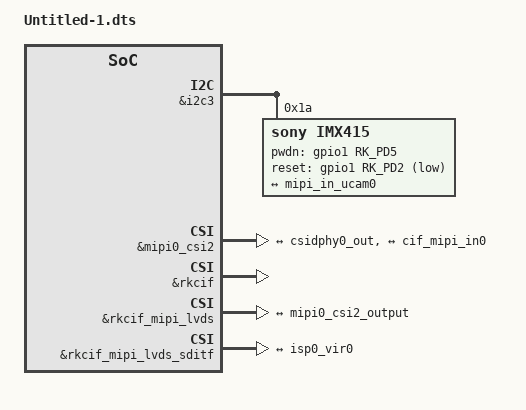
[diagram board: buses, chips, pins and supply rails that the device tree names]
// SPDX-License-Identifier: (GPL-2.0+ OR MIT)
/*
 * 项目：Radxa 5C (RK3588S) 移植 IMX415 摄像头驱动
 * 依据：Radxa ROCK 5C V1.1 原理图 & RK3588S2 芯片手册
 */

#include <dt-bindings/gpio/gpio.h>
#include <dt-bindings/pinctrl/rockchip.h>
#include <dt-bindings/sensor-dev.h>

/ {
    /* * 1. Sensor 节点配置
     * 根据原理图 Page 17，摄像头连接到 I2C3 总线 
     */
    &i2c3 {
        status = "okay";
        pinctrl-names = "default";
        pinctrl-0 = <&i2c3m0_xfer>; 

        imx415: imx415@1a {
            compatible = "sony,imx415";
            reg = <0x1a>; // IMX415 默认 I2C 地址
            status = "okay";

            /* 时钟配置：RK3588S 提供给摄像头的 24MHz 心跳时钟 */
            clocks = <&cru CLK_MIPI_CAMARAOUT_M0>;
            clock-names = "xvclk";
            pinctrl-names = "default";
		    pinctrl-0 = <&mipim0_camera1_clk>;

           

            /* 供电域绑定：属于视频输入电源域 */
            power-domains = <&power RK3588_PD_VI>;
            pwdn-gpios = <&gpio1 RK_PD5 GPIO_ACTIVE_HIGH>;

             /* 复位引脚 */
            reset-gpios = <&gpio1 RK_PD2 GPIO_ACTIVE_LOW>;
            
            
            /* 模组元数据：用于 ISP 驱动匹配 IQ 文件 */
            rockchip,camera-module-index = <0>;
            rockchip,camera-module-facing = "back";
            rockchip,camera-module-name = "RADXA-CAMERA-4K";
            rockchip,camera-module-lens-name = "DEFAULT";

            //自动对焦马达  但市面上买到的兼容 31-Pin 排线的 IMX415 模组，99% 都是定焦裸板模组
            //lens-focus = <&cam_ircut0>;

            port {
                imx415_out0: endpoint {
                    /* 数据输出：指向物理层第一站 csi2_dphy0 */
                    remote-endpoint = <&mipi_in_ucam0>;
                    data-lanes = <1 2 3 4>; // IMX415 支持 4 Lane 模式
                };
            };
        };
    };

    /* * 2. 物理层 (PHY) 配置
     * 验证：Radxa 5C 信号线连接到 MIPI DPHY CSI_RX Port0 (Page 8) 
     */
    &csi2_dphy0 {
        status = "okay";

        ports {
            #address-cells = <1>;
            #size-cells = <0>;

            port@0 {
                reg = <0>;
                #address-cells = <1>;
                #size-cells = <0>;

                /* 输入端：接收来自 Sensor 的数据 */
                mipi_in_ucam0: endpoint@1 {
                    reg = <1>;
                    remote-endpoint = <&imx415_out0>;
                    data-lanes = <1 2 3 4>;
                };
            };

            port@1 {
                reg = <1>;
                #address-cells = <1>;
                #size-cells = <0>;

                /* 输出端：将数据传给协议层 mipi0_csi2 */
                csidphy0_out: endpoint@0 {
                    reg = <0>;
                    remote-endpoint = <&mipi0_csi2_input>;
                };
            };
        };
    };

    /* * 3. 协议层 (CSI-2 Host) 配置
     * 负责解析 MIPI 协议包
     */
    &mipi0_csi2 {
        status = "okay";

        ports {
            #address-cells = <1>;
            #size-cells = <0>;

            port@0 {
                reg = <0>;
                #address-cells = <1>;
                #size-cells = <0>;

                /* 输入：来自 D-PHY */
                mipi0_csi2_input: endpoint@1 {
                    reg = <1>;
                    remote-endpoint = <&csidphy0_out>;
                };
            };

            port@1 {
                reg = <1>;
                #address-cells = <1>;
                #size-cells = <0>;

                /* 输出：传给采集引擎 VICAP (cif) */
                mipi0_csi2_output: endpoint@0 {
                    reg = <0>;
                    remote-endpoint = <&cif_mipi_in0>;
                };
            };
        };
    };

    /* * 4. 采集层 (VICAP) 与 图像处理层 (ISP) 绑定
     * 建立数据流转运至 ISP 的最终路径 [cite: 14893, 14894]
     */
    &rkcif {
        status = "okay";
    };

    &rkcif_mipi_lvds {
        status = "okay";

        port {
            cif_mipi_in0: endpoint {
                remote-endpoint = <&mipi0_csi2_output>;
            };
        };
    };

    &rkcif_mipi_lvds_sditf {
	    status = "okay";
	    port {
            mipi_lvds_sditf: endpoint {
            remote-endpoint = <&isp0_vir0>;
            };
        };
    };
  /* 开启虚拟 ISP 节点 */
  &rkisp0_vir0 {
	status = "okay";

        port {
            #address-cells = <1>;
            #size-cells = <0>;

            isp0_vir0: endpoint@0 {
                reg = <0>;
                remote-endpoint = <&mipi_lvds_sditf>;
            };
        };
    };

};

  

